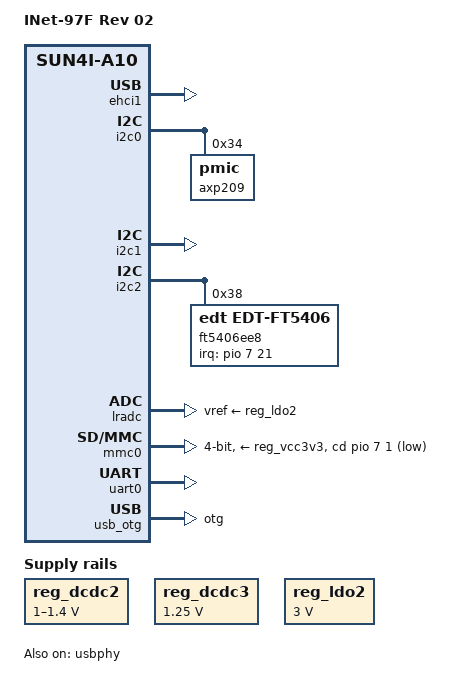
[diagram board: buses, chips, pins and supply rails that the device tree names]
/*
 * Copyright 2014 Open Source Support GmbH
 *
 * David Lanzendörfer <david.lanzendoerfer@o2s.ch>
 *
 * This file is dual-licensed: you can use it either under the terms
 * of the GPL or the X11 license, at your option. Note that this dual
 * licensing only applies to this file, and not this project as a
 * whole.
 *
 *  a) This file is free software; you can redistribute it and/or
 *     modify it under the terms of the GNU General Public License as
 *     published by the Free Software Foundation; either version 2 of the
 *     License, or (at your option) any later version.
 *
 *     This file is distributed in the hope that it will be useful,
 *     but WITHOUT ANY WARRANTY; without even the implied warranty of
 *     MERCHANTABILITY or FITNESS FOR A PARTICULAR PURPOSE.  See the
 *     GNU General Public License for more details.
 *
 * Or, alternatively,
 *
 *  b) Permission is hereby granted, free of charge, to any person
 *     obtaining a copy of this software and associated documentation
 *     files (the "Software"), to deal in the Software without
 *     restriction, including without limitation the rights to use,
 *     copy, modify, merge, publish, distribute, sublicense, and/or
 *     sell copies of the Software, and to permit persons to whom the
 *     Software is furnished to do so, subject to the following
 *     conditions:
 *
 *     The above copyright notice and this permission notice shall be
 *     included in all copies or substantial portions of the Software.
 *
 *     THE SOFTWARE IS PROVIDED "AS IS", WITHOUT WARRANTY OF ANY KIND,
 *     EXPRESS OR IMPLIED, INCLUDING BUT NOT LIMITED TO THE WARRANTIES
 *     OF MERCHANTABILITY, FITNESS FOR A PARTICULAR PURPOSE AND
 *     NONINFRINGEMENT. IN NO EVENT SHALL THE AUTHORS OR COPYRIGHT
 *     HOLDERS BE LIABLE FOR ANY CLAIM, DAMAGES OR OTHER LIABILITY,
 *     WHETHER IN AN ACTION OF CONTRACT, TORT OR OTHERWISE, ARISING
 *     FROM, OUT OF OR IN CONNECTION WITH THE SOFTWARE OR THE USE OR
 *     OTHER DEALINGS IN THE SOFTWARE.
 */

/dts-v1/;
#include "sun4i-a10.dtsi"
#include "sunxi-common-regulators.dtsi"

#include <dt-bindings/gpio/gpio.h>
#include <dt-bindings/input/input.h>
#include <dt-bindings/interrupt-controller/irq.h>

/ {
	model = "INet-97F Rev 02";
	compatible = "primux,inet97fv2", "allwinner,sun4i-a10";

	aliases {
		serial0 = &uart0;
	};

	chosen {
		stdout-path = "serial0:115200n8";
	};
};

&cpu0 {
	cpu-supply = <&reg_dcdc2>;
};

&ehci1 {
	status = "okay";
};

&i2c0 {
	pinctrl-names = "default";
	pinctrl-0 = <&i2c0_pins>;
	status = "okay";

	axp209: pmic@34 {
		reg = <0x34>;
		interrupts = <0>;
	};
};

#include "axp209.dtsi"

&i2c1 {
	pinctrl-names = "default";
	pinctrl-0 = <&i2c1_pins>;
	status = "okay";
};

&i2c2 {
	pinctrl-names = "default";
	pinctrl-0 = <&i2c2_pins>;
	status = "okay";

	ft5406ee8: touchscreen@38 {
		compatible = "edt,edt-ft5406";
		reg = <0x38>;
		interrupt-parent = <&pio>;
		interrupts = <7 21 IRQ_TYPE_EDGE_FALLING>;
		touchscreen-size-x = <800>;
		touchscreen-size-y = <480>;
	};
};

&lradc {
	vref-supply = <&reg_ldo2>;
	status = "okay";

	button-200 {
		label = "Menu";
		linux,code = <KEY_MENU>;
		channel = <0>;
		voltage = <200000>;
	};

	button-600 {
		label = "Volume Up";
		linux,code = <KEY_VOLUMEUP>;
		channel = <0>;
		voltage = <600000>;
	};

	button-800 {
		label = "Volume Down";
		linux,code = <KEY_VOLUMEDOWN>;
		channel = <0>;
		voltage = <800000>;
	};

	button-1000 {
		label = "Home";
		linux,code = <KEY_HOMEPAGE>;
		channel = <0>;
		voltage = <1000000>;
	};

	button-1200 {
		label = "Esc";
		linux,code = <KEY_ESC>;
		channel = <0>;
		voltage = <1200000>;
	};
};

&mmc0 {
	pinctrl-names = "default";
	pinctrl-0 = <&mmc0_pins>;
	vmmc-supply = <&reg_vcc3v3>;
	bus-width = <4>;
	cd-gpios = <&pio 7 1 GPIO_ACTIVE_HIGH>; /* PH1 */
	cd-inverted;
	status = "okay";
};

&otg_sram {
	status = "okay";
};

&pio {
	usb0_id_detect_pin: usb0_id_detect_pin@0 {
		pins = "PH4";
		function = "gpio_in";
		bias-pull-up;
	};

	usb0_vbus_detect_pin: usb0_vbus_detect_pin@0 {
		pins = "PH5";
		function = "gpio_in";
		bias-pull-down;
	};
};

&reg_dcdc2 {
	regulator-always-on;
	regulator-min-microvolt = <1000000>;
	regulator-max-microvolt = <1400000>;
	regulator-name = "vdd-cpu";
};

&reg_dcdc3 {
	regulator-always-on;
	regulator-min-microvolt = <1250000>;
	regulator-max-microvolt = <1250000>;
	regulator-name = "vdd-int-dll";
};

&reg_ldo1 {
	regulator-name = "vdd-rtc";
};

&reg_ldo2 {
	regulator-always-on;
	regulator-min-microvolt = <3000000>;
	regulator-max-microvolt = <3000000>;
	regulator-name = "avcc";
};

&reg_usb0_vbus {
	status = "okay";
};

&reg_usb2_vbus {
	status = "okay";
};

&uart0 {
	pinctrl-names = "default";
	pinctrl-0 = <&uart0_pb_pins>;
	status = "okay";
};

&usb_otg {
	dr_mode = "otg";
	status = "okay";
};

&usbphy {
	pinctrl-names = "default";
	pinctrl-0 = <&usb0_id_detect_pin>, <&usb0_vbus_detect_pin>;
	usb0_id_det-gpio = <&pio 7 4 GPIO_ACTIVE_HIGH>; /* PH4 */
	usb0_vbus_det-gpio = <&pio 7 5 GPIO_ACTIVE_HIGH>; /* PH5 */
	usb0_vbus-supply = <&reg_usb0_vbus>;
	usb2_vbus-supply = <&reg_usb2_vbus>;
	status = "okay";
};
